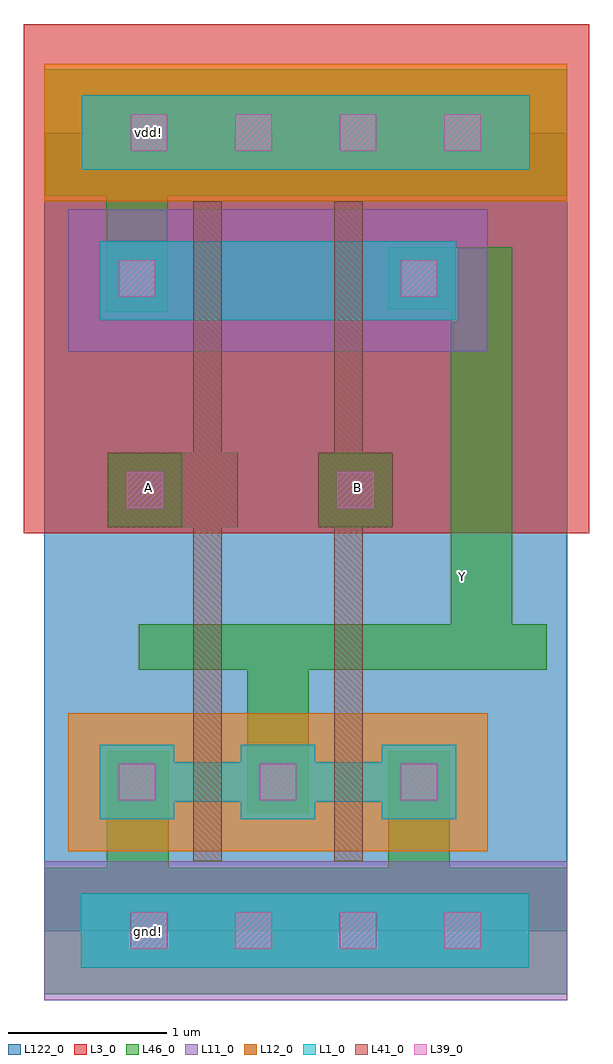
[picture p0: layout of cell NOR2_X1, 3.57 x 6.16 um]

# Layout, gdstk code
import gdstk
lib = gdstk.Library(unit=1e-6, precision=1e-09)
def R(c, l, rs):  # rectangles x0, y0, x1, y1
    for r in rs: c.add(gdstk.rectangle(r[:2], r[2:], *l))
def A(c, l, x, y, w, h, nx, ny, dx, dy):  # array of equal rectangles
    R(c, l, [(x+i*dx, y+j*dy, x+i*dx+w, y+j*dy+h) for i in range(nx) for j in range(ny)])
L1_0 = (1, 0)
L3_0 = (3, 0)
L11_0 = (11, 0)
L12_0 = (12, 0)
L39_0 = (39, 0)
L41_0 = (41, 0)
L46_0 = (46, 0)
L122_0 = (122, 0)

nor2_x1 = lib.new_cell('NOR2_X1')
A(nor2_x1, L1_0, 0.35, 0.705, 0.47, 0.47, 3, 1, 0.89, 0)
R(nor2_x1, L1_0, [(0.23,-0.23,3.06,0.24), (0.35,0.815,2.6,1.065), (0.35,3.855,2.6,4.355), (0.235,4.805,3.065,5.275)])
R(nor2_x1, L3_0, [(-0.13,2.51,3.44,5.725)])
R(nor2_x1, L11_0, [(0,-0.435,3.3,0.44), (0.15,3.655,2.8,4.555)])
R(nor2_x1, L12_0, [(0.15,0.505,2.8,1.375), (0,4.605,3.3,5.475)])
A(nor2_x1, L39_0, 0.545, -0.11, 0.23, 0.23, 4, 2, 0.66, 5.035)
A(nor2_x1, L39_0, 0.47, 0.825, 0.23, 0.23, 3, 1, 0.89, 0)
R(nor2_x1, L39_0, [(0.52,2.67,0.75,2.9), (1.85,2.67,2.08,2.9), (0.47,4.005,0.7,4.235), (2.25,4.005,2.48,4.235)])
R(nor2_x1, L41_0, [(0.94,0.44,1.12,4.605), (1.83,0.44,2.01,4.605), (0.4,2.55,1.22,3.02), (1.73,2.55,2.2,3.02)])
R(nor2_x1, L46_0, [(0,-0.4,3.3,0.4), (0.395,-0.4,0.785,1.135), (2.17,-0.4,2.56,1.135), (1.28,0.745,1.67,1.935), (0.595,1.65,3.17,1.935), (2.565,1.65,2.955,4.315), (0.4,2.55,0.87,3.02), (1.73,2.55,2.2,3.02), (0.39,3.905,0.78,5.44), (2.17,3.925,2.955,4.315), (0,4.64,3.3,5.44)])
R(nor2_x1, L122_0, [(0,0,3.3,5.04)])
nor2_x1.add(gdstk.Label('Y', (2.64,2.24), layer=101, texttype=0))
nor2_x1.add(gdstk.Label('vdd!', (0.66,5.04), layer=101, texttype=0))
nor2_x1.add(gdstk.Label('gnd!', (0.66,0), layer=101, texttype=0))
nor2_x1.add(gdstk.Label('B', (1.98,2.8), layer=101, texttype=0))
nor2_x1.add(gdstk.Label('A', (0.66,2.8), layer=101, texttype=0))

lib.write_gds('NOR2_X1.gds')
